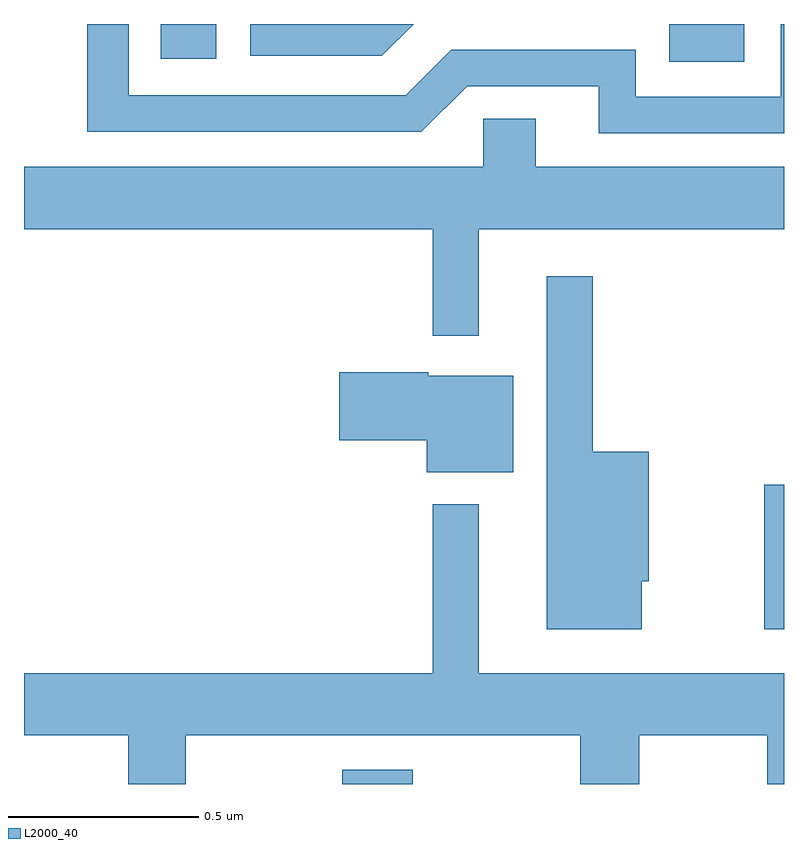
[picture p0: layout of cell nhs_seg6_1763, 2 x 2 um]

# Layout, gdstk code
import gdstk
lib = gdstk.Library(unit=1e-6, precision=1e-09)
def R(c, l, rs):  # rectangles x0, y0, x1, y1
    for r in rs: c.add(gdstk.rectangle(r[:2], r[2:], *l))
def P(c, l, *ps):  # polygons
    for p in ps: c.add(gdstk.Polygon(p, *l))
L2000_40 = (2000, 40)

nhs_seg6_1763 = lib.new_cell('nhs_seg6_1763')
R(nhs_seg6_1763, L2000_40, [(133.838,988.5,134.023,988.537), (134.948,988.907,135,989.287), (134.698,990.401,134.896,990.5), (133.36,990.408,133.506,990.5)])
P(nhs_seg6_1763, L2000_40, [(134.025,990.5),(133.596,990.5),(133.596,990.417),(133.942,990.417)],
  [(135,990.5),(134.991,990.5),(134.991,990.309),(134.61,990.309),(134.61,990.432),(134.124,990.432),(134.004,990.312),(133.275,990.312),(133.275,990.5),(133.167,990.5),(133.167,990.216),(134.046,990.216),(134.166,990.336),(134.513,990.336),(134.513,990.213),(135,990.213)],
  [(134.197,989.96),(135,989.96),(135,990.124),(134.347,990.124),(134.347,990.251),(134.208,990.251),(134.208,990.124),(133,990.124),(133,989.96),(134.076,989.96),(134.076,989.679),(134.197,989.679)],
  [(134.626,989.034),(134.644,989.034),(134.644,989.374),(134.497,989.374),(134.497,989.836),(134.375,989.836),(134.375,988.907),(134.626,988.907)],
  [(134.287,989.575),(134.064,989.575),(134.064,989.583),(133.83,989.583),(133.83,989.405),(134.06,989.405),(134.06,989.321),(134.287,989.321)],
  [(134.197,989.236),(134.076,989.236),(134.076,988.792),(133,988.792),(133,988.628),(133.274,988.628),(133.274,988.5),(133.426,988.5),(133.426,988.628),(134.464,988.628),(134.464,988.5),(134.619,988.5),(134.619,988.628),(134.956,988.628),(134.956,988.5),(135,988.5),(135,988.792),(134.197,988.792)])

lib.write_gds('nhs_seg6_1763.gds')
